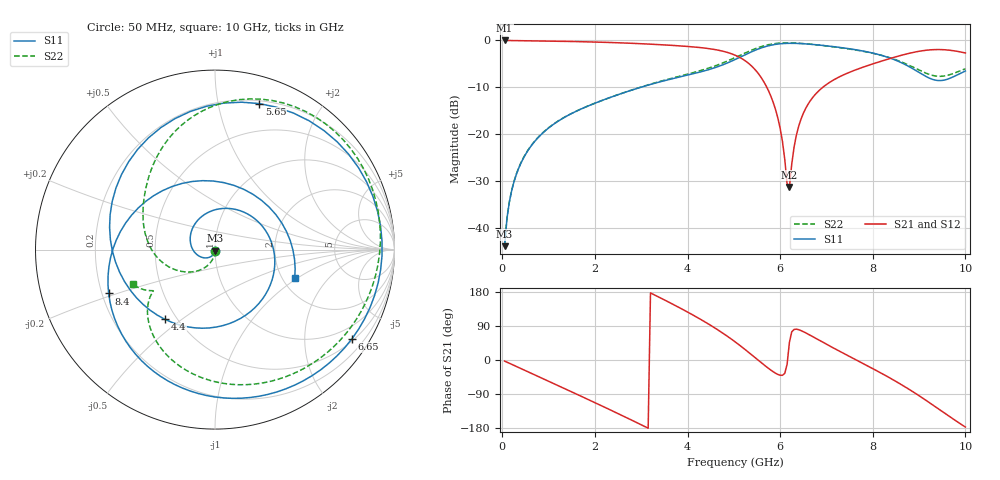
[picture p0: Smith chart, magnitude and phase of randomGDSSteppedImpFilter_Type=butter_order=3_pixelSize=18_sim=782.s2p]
! freq	dB(S11)	phase(S11)	dB(S12)	phase(S12)
!  dB(S21)	phase(S21)	dB(S22)	phase(S22)
!S-par simulation data
#  GHz  S  DB  R 50
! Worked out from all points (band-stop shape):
!   200 points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, 50 MHz to 10 GHz, reference 50 ohm
!   highest |S21| = 0.00 dB at 50 MHz (marker M1); lowest = -31.3 dB at 6.2 GHz (marker M2)
!   |S21| within 3 dB of the highest: start of sweep to 4.99 GHz; 8.683 GHz to end of sweep
!   lowest |S11| = -44.0 dB at 50 MHz (marker M3), VSWR 1.01, Z = 50 - j0.632 ohm
!   |S11| at or under -10 dB: start of sweep to 2.994 GHz
!   |S22| runs from -43.9 to -0.5 dB; largest |S21 - S12| = 0
!   S11 on the Smith chart (normalised r, x): 50 MHz: 1.00, -0.01; 4.4 GHz: 0.43, -0.44; 5.65 GHz: 0.23, +1.32; 6.65 GHz: 0.56, -3.28; 8.4 GHz: 0.23, -0.19; 10 GHz: 2.33, -0.94
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0.05  -43.98 -91.5  -0.00 -2.9  -0.00 -2.9  -43.93 -88.4
0.2  -32.21 -105.8  -0.02 -11.3  -0.02 -11.3  -32.14 -95.3
0.5  -24.39 -131.5  -0.06 -28.1  -0.06 -28.1  -24.32 -105.2
1.15  -17.62 173.3  -0.15 -64.5  -0.15 -64.5  -17.58 -123.9
1.75  -14.44 120.4  -0.28 -98.3  -0.28 -98.3  -14.44 -138.8
2.65  -11.09 39.0  -0.55 -150.2  -0.55 -150.2  -11.07 -160.8
3.4  -8.86 -28.2  -0.90 164.8  -0.90 164.8  -8.78 177.0
4.4  -6.41 -125.6  -1.67 98.8  -1.67 98.8  -6.09 142.3
5.05  -3.98 154.8  -3.25 45.9  -3.25 45.9  -3.56 113.7
5.4  -2.35 107.0  -5.63 12.2  -5.63 12.2  -2.00 91.8
5.65  -1.41 73.1  -8.88 -12.7  -8.88 -12.7  -1.14 72.9
5.95  -0.77 35.5  -16.57 -38.1  -16.57 -38.1  -0.60 48.6
6.2  -0.62 8.0  -31.34 46.5  -31.34 46.5  -0.51 28.6
6.35  -0.63 -6.8  -20.27 81.4  -20.27 81.4  -0.57 17.0
6.65  -0.81 -33.1  -12.91 65.2  -12.91 65.2  -0.80 -5.2
6.7  -0.85 -37.1  -12.23 61.9  -12.23 61.9  -0.85 -8.7
7.45  -1.71 -90.0  -7.00 12.4  -7.00 12.4  -1.77 -58.6
8.35  -3.69 -153.4  -3.93 -46.1  -3.93 -46.1  -3.64 -111.9
8.4  -3.86 -157.6  -3.78 -49.5  -3.78 -49.5  -3.80 -114.6
8.8  -5.68 163.5  -2.72 -78.6  -2.72 -78.6  -5.38 -133.8
9.25  -8.17 100.1  -2.00 -114.8  -2.00 -114.8  -7.36 -145.2
10  -6.53 -19.5  -2.68 -177.0  -2.68 -177.0  -6.05 -157.3
